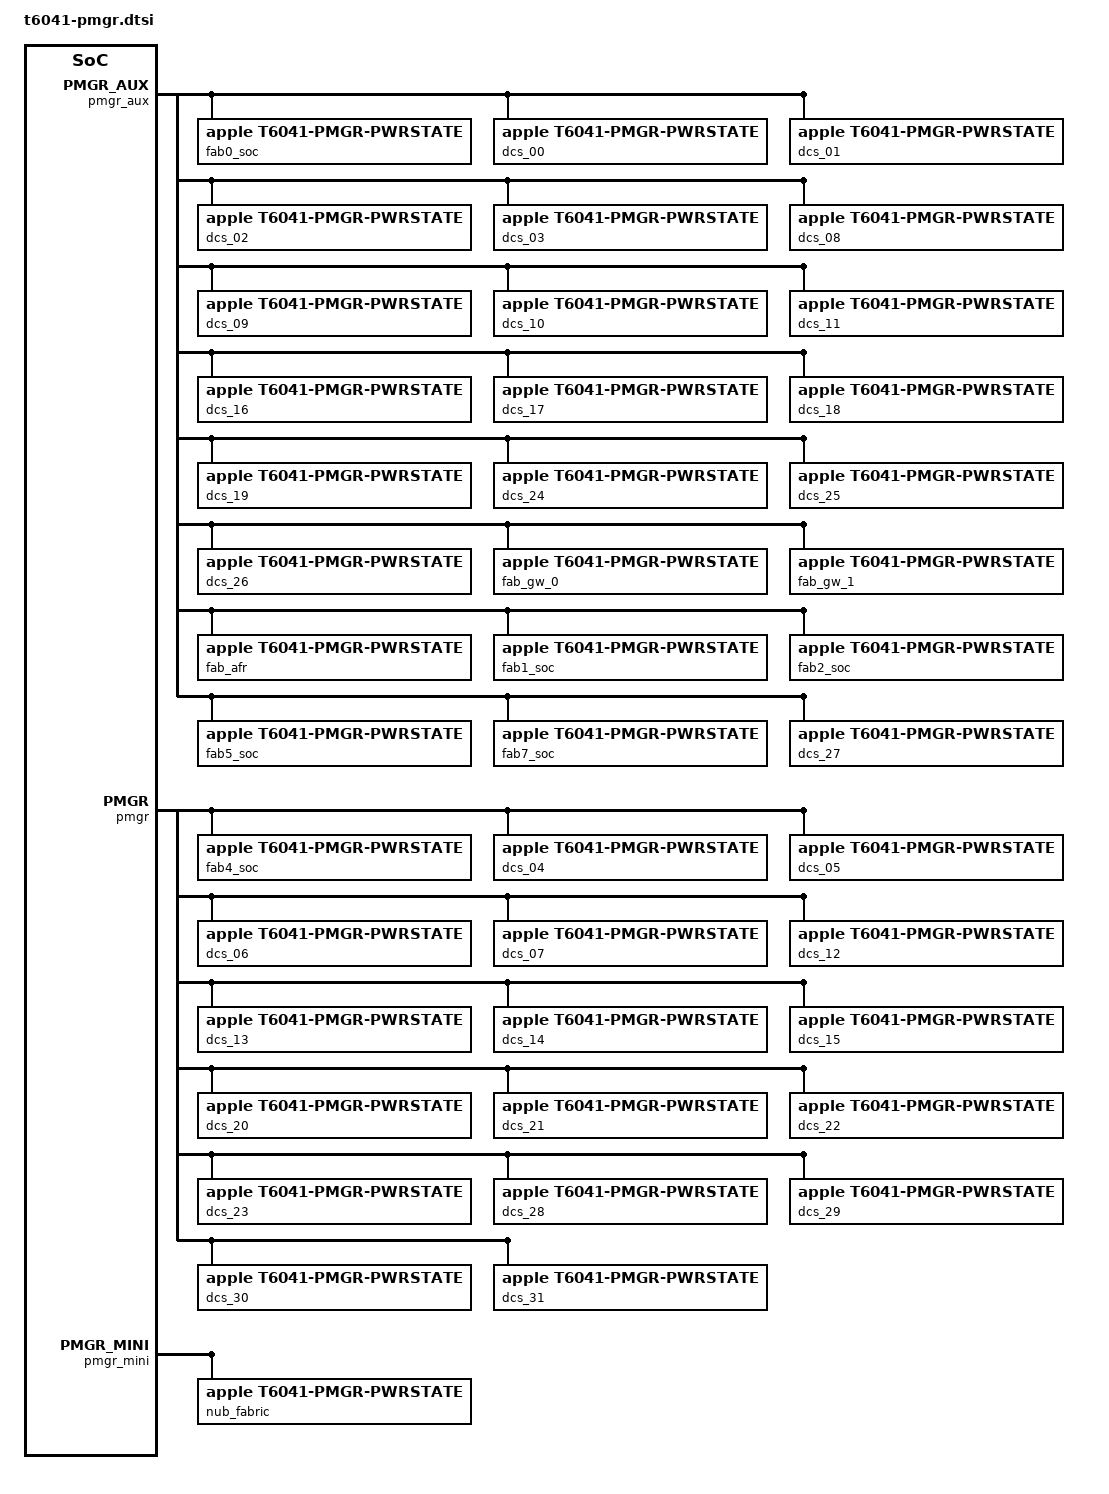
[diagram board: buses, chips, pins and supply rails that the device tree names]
// SPDX-License-Identifier: GPL-2.0+ OR MIT
/*
 * T6041-specific PMGR power domains for hardware auto-managed DCS channels
 * and memory/SoC fabrics.
 *
 * Offsets and parent links verified against the J616c ADT (/arm-io/pmgr
 * devices and ps-groups). The DCS nodes omit their ADT parents, the AMCC
 * power states, which are not described in this device tree. All 32 DCS
 * channels (24 present on binned parts, 32 on full parts) and 12 fabrics
 * are hardware auto-managed: the boot loader may leave them forced on, and
 * they must be switched to hardware AUTO_ENABLE early at boot, before the
 * PMP starts. On binned parts dcs_24-31 are fused off and read as off.
 *
 * Copyright The Asahi Linux Contributors
 */

&pmgr_aux {
	ps_fab0_soc: power-controller@168 {
		compatible = "apple,t6041-pmgr-pwrstate", "apple,t8103-pmgr-pwrstate";
		reg = <0x168 4>;
		#power-domain-cells = <0>;
		#reset-cells = <0>;
		label = "fab0_soc";
		power-domains = <&ps_afi>;
		apple,always-on;
		apple,auto-managed;
	};

	ps_dcs_00: power-controller@188 {
		compatible = "apple,t6041-pmgr-pwrstate", "apple,t8103-pmgr-pwrstate";
		reg = <0x188 4>;
		#power-domain-cells = <0>;
		#reset-cells = <0>;
		label = "dcs_00";
		apple,auto-managed;
	};

	ps_dcs_01: power-controller@1a0 {
		compatible = "apple,t6041-pmgr-pwrstate", "apple,t8103-pmgr-pwrstate";
		reg = <0x1a0 4>;
		#power-domain-cells = <0>;
		#reset-cells = <0>;
		label = "dcs_01";
		apple,auto-managed;
	};

	ps_dcs_02: power-controller@1b0 {
		compatible = "apple,t6041-pmgr-pwrstate", "apple,t8103-pmgr-pwrstate";
		reg = <0x1b0 4>;
		#power-domain-cells = <0>;
		#reset-cells = <0>;
		label = "dcs_02";
		apple,auto-managed;
	};

	ps_dcs_03: power-controller@1c0 {
		compatible = "apple,t6041-pmgr-pwrstate", "apple,t8103-pmgr-pwrstate";
		reg = <0x1c0 4>;
		#power-domain-cells = <0>;
		#reset-cells = <0>;
		label = "dcs_03";
		apple,auto-managed;
	};

	ps_dcs_08: power-controller@1d0 {
		compatible = "apple,t6041-pmgr-pwrstate", "apple,t8103-pmgr-pwrstate";
		reg = <0x1d0 4>;
		#power-domain-cells = <0>;
		#reset-cells = <0>;
		label = "dcs_08";
		apple,auto-managed;
	};

	ps_dcs_09: power-controller@1e0 {
		compatible = "apple,t6041-pmgr-pwrstate", "apple,t8103-pmgr-pwrstate";
		reg = <0x1e0 4>;
		#power-domain-cells = <0>;
		#reset-cells = <0>;
		label = "dcs_09";
		apple,auto-managed;
	};

	ps_dcs_10: power-controller@1f0 {
		compatible = "apple,t6041-pmgr-pwrstate", "apple,t8103-pmgr-pwrstate";
		reg = <0x1f0 4>;
		#power-domain-cells = <0>;
		#reset-cells = <0>;
		label = "dcs_10";
		apple,auto-managed;
	};

	ps_dcs_11: power-controller@200 {
		compatible = "apple,t6041-pmgr-pwrstate", "apple,t8103-pmgr-pwrstate";
		reg = <0x200 4>;
		#power-domain-cells = <0>;
		#reset-cells = <0>;
		label = "dcs_11";
		apple,auto-managed;
	};

	ps_dcs_16: power-controller@210 {
		compatible = "apple,t6041-pmgr-pwrstate", "apple,t8103-pmgr-pwrstate";
		reg = <0x210 4>;
		#power-domain-cells = <0>;
		#reset-cells = <0>;
		label = "dcs_16";
		apple,auto-managed;
	};

	ps_dcs_17: power-controller@220 {
		compatible = "apple,t6041-pmgr-pwrstate", "apple,t8103-pmgr-pwrstate";
		reg = <0x220 4>;
		#power-domain-cells = <0>;
		#reset-cells = <0>;
		label = "dcs_17";
		apple,auto-managed;
	};

	ps_dcs_18: power-controller@230 {
		compatible = "apple,t6041-pmgr-pwrstate", "apple,t8103-pmgr-pwrstate";
		reg = <0x230 4>;
		#power-domain-cells = <0>;
		#reset-cells = <0>;
		label = "dcs_18";
		apple,auto-managed;
	};

	ps_dcs_19: power-controller@240 {
		compatible = "apple,t6041-pmgr-pwrstate", "apple,t8103-pmgr-pwrstate";
		reg = <0x240 4>;
		#power-domain-cells = <0>;
		#reset-cells = <0>;
		label = "dcs_19";
		apple,auto-managed;
	};

	ps_dcs_24: power-controller@250 {
		compatible = "apple,t6041-pmgr-pwrstate", "apple,t8103-pmgr-pwrstate";
		reg = <0x250 4>;
		#power-domain-cells = <0>;
		#reset-cells = <0>;
		label = "dcs_24";
		apple,auto-managed;
	};

	ps_dcs_25: power-controller@260 {
		compatible = "apple,t6041-pmgr-pwrstate", "apple,t8103-pmgr-pwrstate";
		reg = <0x260 4>;
		#power-domain-cells = <0>;
		#reset-cells = <0>;
		label = "dcs_25";
		apple,auto-managed;
	};

	ps_dcs_26: power-controller@270 {
		compatible = "apple,t6041-pmgr-pwrstate", "apple,t8103-pmgr-pwrstate";
		reg = <0x270 4>;
		#power-domain-cells = <0>;
		#reset-cells = <0>;
		label = "dcs_26";
		apple,auto-managed;
	};

	ps_fab_gw_0: power-controller@288 {
		compatible = "apple,t6041-pmgr-pwrstate", "apple,t8103-pmgr-pwrstate";
		reg = <0x288 4>;
		#power-domain-cells = <0>;
		#reset-cells = <0>;
		label = "fab_gw_0";
		apple,always-on;
		apple,auto-managed;
	};

	ps_fab_gw_1: power-controller@290 {
		compatible = "apple,t6041-pmgr-pwrstate", "apple,t8103-pmgr-pwrstate";
		reg = <0x290 4>;
		#power-domain-cells = <0>;
		#reset-cells = <0>;
		label = "fab_gw_1";
		apple,always-on;
		apple,auto-managed;
	};

	ps_fab_afr: power-controller@298 {
		compatible = "apple,t6041-pmgr-pwrstate", "apple,t8103-pmgr-pwrstate";
		reg = <0x298 4>;
		#power-domain-cells = <0>;
		#reset-cells = <0>;
		label = "fab_afr";
		apple,always-on;
		apple,auto-managed;
	};

	ps_fab1_soc: power-controller@2d0 {
		compatible = "apple,t6041-pmgr-pwrstate", "apple,t8103-pmgr-pwrstate";
		reg = <0x2d0 4>;
		#power-domain-cells = <0>;
		#reset-cells = <0>;
		label = "fab1_soc";
		power-domains = <&ps_afi>;
		apple,always-on;
		apple,auto-managed;
	};

	ps_fab2_soc: power-controller@338 {
		compatible = "apple,t6041-pmgr-pwrstate", "apple,t8103-pmgr-pwrstate";
		reg = <0x338 4>;
		#power-domain-cells = <0>;
		#reset-cells = <0>;
		label = "fab2_soc";
		power-domains = <&ps_afi>;
		apple,always-on;
		apple,auto-managed;
	};

	ps_fab5_soc: power-controller@440 {
		compatible = "apple,t6041-pmgr-pwrstate", "apple,t8103-pmgr-pwrstate";
		reg = <0x440 4>;
		#power-domain-cells = <0>;
		#reset-cells = <0>;
		label = "fab5_soc";
		power-domains = <&ps_afi>;
		apple,always-on;
		apple,auto-managed;
	};

	ps_fab7_soc: power-controller@488 {
		compatible = "apple,t6041-pmgr-pwrstate", "apple,t8103-pmgr-pwrstate";
		reg = <0x488 4>;
		#power-domain-cells = <0>;
		#reset-cells = <0>;
		label = "fab7_soc";
		power-domains = <&ps_afi>;
		apple,always-on;
		apple,auto-managed;
	};

	/* dcs_27 sits at +0x530 rather than adjacent to dcs_26 (+0x280 is amcc27). */
	ps_dcs_27: power-controller@530 {
		compatible = "apple,t6041-pmgr-pwrstate", "apple,t8103-pmgr-pwrstate";
		reg = <0x530 4>;
		#power-domain-cells = <0>;
		#reset-cells = <0>;
		label = "dcs_27";
		apple,auto-managed;
	};
};

&ps_fab6_soc {
	apple,auto-managed;
};

&pmgr {
	ps_fab4_soc: power-controller@128 {
		compatible = "apple,t6041-pmgr-pwrstate", "apple,t8103-pmgr-pwrstate";
		reg = <0x128 4>;
		#power-domain-cells = <0>;
		#reset-cells = <0>;
		label = "fab4_soc";
		power-domains = <&ps_afc>;
		apple,always-on;
		apple,auto-managed;
	};

	ps_dcs_04: power-controller@2e0 {
		compatible = "apple,t6041-pmgr-pwrstate", "apple,t8103-pmgr-pwrstate";
		reg = <0x2e0 4>;
		#power-domain-cells = <0>;
		#reset-cells = <0>;
		label = "dcs_04";
		apple,auto-managed;
	};

	ps_dcs_05: power-controller@2e8 {
		compatible = "apple,t6041-pmgr-pwrstate", "apple,t8103-pmgr-pwrstate";
		reg = <0x2e8 4>;
		#power-domain-cells = <0>;
		#reset-cells = <0>;
		label = "dcs_05";
		apple,auto-managed;
	};

	ps_dcs_06: power-controller@2f0 {
		compatible = "apple,t6041-pmgr-pwrstate", "apple,t8103-pmgr-pwrstate";
		reg = <0x2f0 4>;
		#power-domain-cells = <0>;
		#reset-cells = <0>;
		label = "dcs_06";
		apple,auto-managed;
	};

	ps_dcs_07: power-controller@2f8 {
		compatible = "apple,t6041-pmgr-pwrstate", "apple,t8103-pmgr-pwrstate";
		reg = <0x2f8 4>;
		#power-domain-cells = <0>;
		#reset-cells = <0>;
		label = "dcs_07";
		apple,auto-managed;
	};

	ps_dcs_12: power-controller@300 {
		compatible = "apple,t6041-pmgr-pwrstate", "apple,t8103-pmgr-pwrstate";
		reg = <0x300 4>;
		#power-domain-cells = <0>;
		#reset-cells = <0>;
		label = "dcs_12";
		apple,auto-managed;
	};

	ps_dcs_13: power-controller@308 {
		compatible = "apple,t6041-pmgr-pwrstate", "apple,t8103-pmgr-pwrstate";
		reg = <0x308 4>;
		#power-domain-cells = <0>;
		#reset-cells = <0>;
		label = "dcs_13";
		apple,auto-managed;
	};

	ps_dcs_14: power-controller@310 {
		compatible = "apple,t6041-pmgr-pwrstate", "apple,t8103-pmgr-pwrstate";
		reg = <0x310 4>;
		#power-domain-cells = <0>;
		#reset-cells = <0>;
		label = "dcs_14";
		apple,auto-managed;
	};

	ps_dcs_15: power-controller@318 {
		compatible = "apple,t6041-pmgr-pwrstate", "apple,t8103-pmgr-pwrstate";
		reg = <0x318 4>;
		#power-domain-cells = <0>;
		#reset-cells = <0>;
		label = "dcs_15";
		apple,auto-managed;
	};

	ps_dcs_20: power-controller@320 {
		compatible = "apple,t6041-pmgr-pwrstate", "apple,t8103-pmgr-pwrstate";
		reg = <0x320 4>;
		#power-domain-cells = <0>;
		#reset-cells = <0>;
		label = "dcs_20";
		apple,auto-managed;
	};

	ps_dcs_21: power-controller@328 {
		compatible = "apple,t6041-pmgr-pwrstate", "apple,t8103-pmgr-pwrstate";
		reg = <0x328 4>;
		#power-domain-cells = <0>;
		#reset-cells = <0>;
		label = "dcs_21";
		apple,auto-managed;
	};

	ps_dcs_22: power-controller@330 {
		compatible = "apple,t6041-pmgr-pwrstate", "apple,t8103-pmgr-pwrstate";
		reg = <0x330 4>;
		#power-domain-cells = <0>;
		#reset-cells = <0>;
		label = "dcs_22";
		apple,auto-managed;
	};

	ps_dcs_23: power-controller@338 {
		compatible = "apple,t6041-pmgr-pwrstate", "apple,t8103-pmgr-pwrstate";
		reg = <0x338 4>;
		#power-domain-cells = <0>;
		#reset-cells = <0>;
		label = "dcs_23";
		apple,auto-managed;
	};

	ps_dcs_28: power-controller@340 {
		compatible = "apple,t6041-pmgr-pwrstate", "apple,t8103-pmgr-pwrstate";
		reg = <0x340 4>;
		#power-domain-cells = <0>;
		#reset-cells = <0>;
		label = "dcs_28";
		apple,auto-managed;
	};

	ps_dcs_29: power-controller@348 {
		compatible = "apple,t6041-pmgr-pwrstate", "apple,t8103-pmgr-pwrstate";
		reg = <0x348 4>;
		#power-domain-cells = <0>;
		#reset-cells = <0>;
		label = "dcs_29";
		apple,auto-managed;
	};

	ps_dcs_30: power-controller@350 {
		compatible = "apple,t6041-pmgr-pwrstate", "apple,t8103-pmgr-pwrstate";
		reg = <0x350 4>;
		#power-domain-cells = <0>;
		#reset-cells = <0>;
		label = "dcs_30";
		apple,auto-managed;
	};

	ps_dcs_31: power-controller@358 {
		compatible = "apple,t6041-pmgr-pwrstate", "apple,t8103-pmgr-pwrstate";
		reg = <0x358 4>;
		#power-domain-cells = <0>;
		#reset-cells = <0>;
		label = "dcs_31";
		apple,auto-managed;
	};
};

&ps_fab3_soc {
	apple,auto-managed;
};

&pmgr_mini {
	ps_nub_fabric: power-controller@100 {
		compatible = "apple,t6041-pmgr-pwrstate", "apple,t8103-pmgr-pwrstate";
		reg = <0x100 4>;
		#power-domain-cells = <0>;
		#reset-cells = <0>;
		label = "nub_fabric";
		apple,always-on;
		apple,auto-managed;
	};
};
